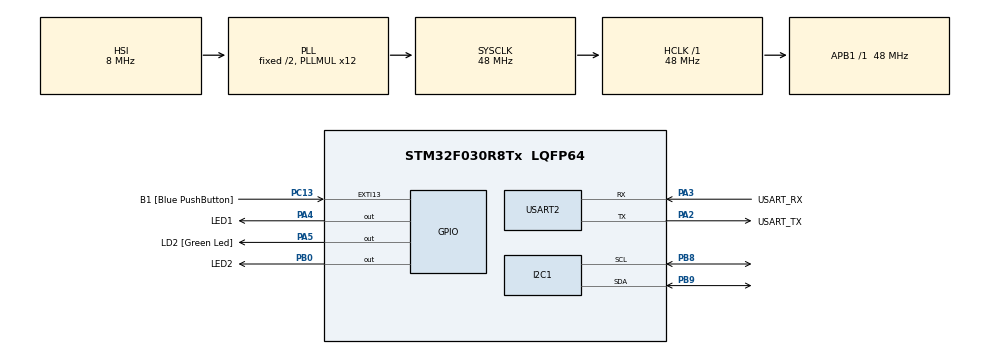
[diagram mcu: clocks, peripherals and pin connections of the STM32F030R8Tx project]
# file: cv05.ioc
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Dma.Request0=USART2_RX
Dma.USART2_RX.0.Direction=DMA_PERIPH_TO_MEMORY
Dma.USART2_RX.0.Instance=DMA1_Channel5
Dma.USART2_RX.0.MemDataAlignment=DMA_MDATAALIGN_BYTE
Dma.USART2_RX.0.MemInc=DMA_MINC_ENABLE
Dma.USART2_RX.0.Mode=DMA_CIRCULAR
Dma.USART2_RX.0.PeriphDataAlignment=DMA_PDATAALIGN_BYTE
Dma.USART2_RX.0.PeriphInc=DMA_PINC_DISABLE
Dma.USART2_RX.0.Priority=DMA_PRIORITY_LOW
Mcu.Family=STM32F0
Mcu.Name=STM32F030R8Tx
Mcu.Package=LQFP64
NVIC.DMA1_Channel4_5_IRQn=true\:0\:0\:false\:false\:true\:false\:true
PA13.GPIO_Label=TMS
PA13.Mode=Serial_Wire
PA13.Signal=SYS_SWDIO
PA14.GPIO_Label=TCK
PA14.Mode=Serial_Wire
PA14.Signal=SYS_SWCLK
PA2.GPIO_Label=USART_TX
PA2.GPIO_Mode=GPIO_MODE_AF_PP
PA2.GPIO_PuPd=GPIO_NOPULL
PA2.GPIO_Speed=GPIO_SPEED_FREQ_LOW
PA2.Mode=Asynchronous
PA2.Signal=USART2_TX
PA3.GPIO_Label=USART_RX
PA3.GPIO_Mode=GPIO_MODE_AF_PP
PA3.GPIO_PuPd=GPIO_NOPULL
PA3.GPIO_Speed=GPIO_SPEED_FREQ_LOW
PA3.Mode=Asynchronous
PA3.Signal=USART2_RX
PA4.GPIO_Label=LED1
PA4.Signal=GPIO_Output
PA5.GPIO_Label=LD2 [Green Led]
PA5.GPIO_Mode=GPIO_MODE_OUTPUT_PP
PA5.GPIO_PuPd=GPIO_NOPULL
PA5.GPIO_Speed=GPIO_SPEED_FREQ_LOW
PA5.Signal=GPIO_Output
PB0.GPIO_Label=LED2
PB0.Signal=GPIO_Output
PB8.Mode=I2C
PB8.Signal=I2C1_SCL
PB9.Mode=I2C
PB9.Signal=I2C1_SDA
PC13.GPIO_Label=B1 [Blue PushButton]
PC13.GPIO_ModeDefaultEXTI=GPIO_MODE_IT_FALLING
PC13.Signal=GPXTI13
PC14-OSC32_IN.Mode=LSE-External-Oscillator
PC14-OSC32_IN.Signal=RCC_OSC32_IN
PC15-OSC32_OUT.Mode=LSE-External-Oscillator
PC15-OSC32_OUT.Signal=RCC_OSC32_OUT
PF0-OSC_IN.Mode=HSE-External-Clock-Source
PF0-OSC_IN.Signal=RCC_OSC_IN
PF1-OSC_OUT.Signal=RCC_OSC_OUT
ProjectManager.HeapSize=0x200
ProjectManager.StackSize=0x400
ProjectManager.TargetToolchain=STM32CubeIDE
RCC.AHBFreq_Value=48000000
RCC.APB1Freq_Value=48000000
RCC.APB1TimFreq_Value=48000000
RCC.HCLKFreq_Value=48000000
RCC.PLLMUL=RCC_PLL_MUL12
RCC.SYSCLKFreq_VALUE=48000000
RCC.SYSCLKSource=RCC_SYSCLKSOURCE_PLLCLK
USART2.VirtualMode-Asynchronous=VM_ASYNC
board=NUCLEO-F030R8

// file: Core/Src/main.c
/* USER CODE BEGIN Header */
/**
  ******************************************************************************
  * @file           : main.c
  * @brief          : Main program body
  ******************************************************************************
  * @attention
  *
  * <h2><center>&copy; Copyright (c) 2020 STMicroelectronics.
  * All rights reserved.</center></h2>
  *
  * This software component is licensed by ST under BSD 3-Clause license,
  * the "License"; You may not use this file except in compliance with the
  * License. You may obtain a copy of the License at:
  *                        opensource.org/licenses/BSD-3-Clause
  *
  ******************************************************************************
  */
/* USER CODE END Header */
#include "main.h"

I2C_HandleTypeDef hi2c1;

UART_HandleTypeDef huart2;
DMA_HandleTypeDef hdma_usart2_rx;

/* USER CODE BEGIN PV */
#define EEPROM_ADDR 0xA0

#define CMD_BUFFER_LEN 256
#define RX_BUFFER_LEN 64
static uint8_t uart_rx_buf[RX_BUFFER_LEN];
static volatile uint16_t uart_rx_read_ptr = 0;
#define uart_rx_write_ptr (RX_BUFFER_LEN - hdma_usart2_rx.Instance->CNDTR)

/* USER CODE END PV */

void SystemClock_Config(void);
static void MX_GPIO_Init(void);
static void MX_DMA_Init(void);
static void MX_USART2_UART_Init(void);
static void MX_I2C1_Init(void);
/* USER CODE BEGIN PFP */

int _write(int file, char const *buf, int n)
{
	/* stdout redirection to UART2 */
	HAL_UART_Transmit(&huart2, (uint8_t*)(buf), n, HAL_MAX_DELAY);
	return n;
}

static void uart_process_command(char *cmd){
//	printf("prijato: '%s'\n", cmd);

	char *token;
	char str1;
	char str2;
	token = strtok(cmd, " ");
	if (strcasecmp(token, "HELLO") == 0) {
		printf("Komunikace OK\n");
	}
	else if (strcasecmp(token, "LED1") == 0) {
		token = strtok(NULL, " ");
		if (strcasecmp(token, "ON") == 0) HAL_GPIO_WritePin(LED1_GPIO_Port, LED1_Pin, GPIO_PIN_SET);
		else if (strcasecmp(token, "OFF") == 0) HAL_GPIO_WritePin(LED1_GPIO_Port, LED1_Pin, GPIO_PIN_RESET);
		else printf("Neznamy prikaz\n");
		printf("OK\n");
		}
	else if (strcasecmp(token, "LED2") == 0) {
		token = strtok(NULL, " ");
		if (strcasecmp(token, "ON") == 0) HAL_GPIO_WritePin(LED2_GPIO_Port, LED2_Pin, GPIO_PIN_SET);
		else if (strcasecmp(token, "OFF") == 0) HAL_GPIO_WritePin(LED2_GPIO_Port, LED2_Pin, GPIO_PIN_RESET);
		else printf("Neznamy prikaz\n");
		printf("OK\n");
		}
	else if (strcasecmp(token, "STATUS") == 0) {
		if (HAL_GPIO_ReadPin(LED1_GPIO_Port, LED1_Pin) == 1) str1 = "on";
		else if (HAL_GPIO_ReadPin(LED1_GPIO_Port, LED1_Pin) == 0) str1 = "off";
		if (HAL_GPIO_ReadPin(LED2_GPIO_Port, LED2_Pin) == 1) str2 = "on";
		else if (HAL_GPIO_ReadPin(LED2_GPIO_Port, LED2_Pin) == 0) str2 = "off";
		printf("Stav LED1=%s, LED2=%s\n",str1, str2);
		}
	else if (strcasecmp(token, "READ") == 0) {
		token = strtok(NULL, " ");
		uint16_t addr = atoi(token);
		uint8_t value;

		HAL_I2C_Mem_Read(&hi2c1, EEPROM_ADDR, addr, I2C_MEMADD_SIZE_16BIT, &value, 1, 1000);

		printf("Adresa 0x%04X = 0x%02X\n", addr, value);
	}
	else if (strcasecmp(token, "WRITE") == 0) {
		token = strtok(NULL, " ");
		uint16_t addr = atoi(token);
		token = strtok(NULL, " ");
		uint8_t value = atoi(token);

		HAL_I2C_Mem_Write(&hi2c1, EEPROM_ADDR, addr, I2C_MEMADD_SIZE_16BIT, &value, 1, 1000);
		/* Check if the EEPROM is ready for a new operation */
		while (HAL_I2C_IsDeviceReady(&hi2c1, EEPROM_ADDR, 300, 1000) == HAL_TIMEOUT) {}

		printf("OK\n");
	}
	else if (strcasecmp(token, "DUMP") == 0) {
		uint8_t value;

		for(volatile uint16_t j = 0; j < 16; j++){
			HAL_I2C_Mem_Read(&hi2c1, EEPROM_ADDR, j, I2C_MEMADD_SIZE_16BIT, &value, 1, 1000);
			printf("%02X  ", value);

			if(j == 7 || j == 15){
				printf("\n");
			}
		}
	}
	else {
		printf("Neznamy prikaz\n");
	}
}
static void uart_byte_available(uint8_t c)
{
	static uint16_t cnt;
	static char data[CMD_BUFFER_LEN];

	if (cnt < CMD_BUFFER_LEN && c >= 32 && c <= 126)
		data[cnt++] = c;
	if ((c == '\n' || c == '\r') && cnt > 0) {
		data[cnt] = '\0';
		uart_process_command(data);
		cnt = 0;
	}
}

/* USER CODE END PFP */

int main(void)
{

  /* MCU Configuration--------------------------------------------------------*/

  /* Reset of all peripherals, Initializes the Flash interface and the Systick. */
  HAL_Init();

  /* Configure the system clock */
  SystemClock_Config();

  /* Initialize all configured peripherals */
  MX_GPIO_Init();
  MX_DMA_Init();
  MX_USART2_UART_Init();
  MX_I2C1_Init();
  /* USER CODE BEGIN 2 */

  HAL_UART_Receive_DMA(&huart2, uart_rx_buf, RX_BUFFER_LEN);

  /* USER CODE END 2 */

  /* Infinite loop */
  while (1)
  {

    /* USER CODE BEGIN 3 */
//	  uint8_t c;
//	  HAL_UART_Receive(&huart2, &c, 1, HAL_MAX_DELAY);
//	  HAL_UART_Transmit(&huart2, &c, 1, HAL_MAX_DELAY);

	  while (uart_rx_read_ptr != uart_rx_write_ptr) {
		  uint8_t b = uart_rx_buf[uart_rx_read_ptr];
		  if (++uart_rx_read_ptr >= RX_BUFFER_LEN)
			  uart_rx_read_ptr = 0; // increase read pointer
		  uart_byte_available(b); // process every received byte with the RX state machine
	  }

  }
  /* USER CODE END 3 */
}

void SystemClock_Config(void)
{
  RCC_OscInitTypeDef RCC_OscInitStruct = {0};
  RCC_ClkInitTypeDef RCC_ClkInitStruct = {0};
  RCC_PeriphCLKInitTypeDef PeriphClkInit = {0};

  /** Initializes the RCC Oscillators according to the specified parameters
  * in the RCC_OscInitTypeDef structure.
  */
  RCC_OscInitStruct.OscillatorType = RCC_OSCILLATORTYPE_HSI;
  RCC_OscInitStruct.HSIState = RCC_HSI_ON;
  RCC_OscInitStruct.HSICalibrationValue = RCC_HSICALIBRATION_DEFAULT;
  RCC_OscInitStruct.PLL.PLLState = RCC_PLL_ON;
  RCC_OscInitStruct.PLL.PLLSource = RCC_PLLSOURCE_HSI;
  RCC_OscInitStruct.PLL.PLLMUL = RCC_PLL_MUL12;
  RCC_OscInitStruct.PLL.PREDIV = RCC_PREDIV_DIV1;
  if (HAL_RCC_OscConfig(&RCC_OscInitStruct) != HAL_OK)
  {
    Error_Handler();
  }
  /** Initializes the CPU, AHB and APB buses clocks
  */
  RCC_ClkInitStruct.ClockType = RCC_CLOCKTYPE_HCLK|RCC_CLOCKTYPE_SYSCLK
                              |RCC_CLOCKTYPE_PCLK1;
  RCC_ClkInitStruct.SYSCLKSource = RCC_SYSCLKSOURCE_PLLCLK;
  RCC_ClkInitStruct.AHBCLKDivider = RCC_SYSCLK_DIV1;
  RCC_ClkInitStruct.APB1CLKDivider = RCC_HCLK_DIV1;

  if (HAL_RCC_ClockConfig(&RCC_ClkInitStruct, FLASH_LATENCY_1) != HAL_OK)
  {
    Error_Handler();
  }
  PeriphClkInit.PeriphClockSelection = RCC_PERIPHCLK_I2C1;
  PeriphClkInit.I2c1ClockSelection = RCC_I2C1CLKSOURCE_HSI;
  if (HAL_RCCEx_PeriphCLKConfig(&PeriphClkInit) != HAL_OK)
  {
    Error_Handler();
  }
}

static void MX_I2C1_Init(void)
{

  hi2c1.Instance = I2C1;
  hi2c1.Init.Timing = 0x2000090E;
  hi2c1.Init.OwnAddress1 = 0;
  hi2c1.Init.AddressingMode = I2C_ADDRESSINGMODE_7BIT;
  hi2c1.Init.DualAddressMode = I2C_DUALADDRESS_DISABLE;
  hi2c1.Init.OwnAddress2 = 0;
  hi2c1.Init.OwnAddress2Masks = I2C_OA2_NOMASK;
  hi2c1.Init.GeneralCallMode = I2C_GENERALCALL_DISABLE;
  hi2c1.Init.NoStretchMode = I2C_NOSTRETCH_DISABLE;
  if (HAL_I2C_Init(&hi2c1) != HAL_OK)
  {
    Error_Handler();
  }
  /** Configure Analogue filter
  */
  if (HAL_I2CEx_ConfigAnalogFilter(&hi2c1, I2C_ANALOGFILTER_ENABLE) != HAL_OK)
  {
    Error_Handler();
  }
  /** Configure Digital filter
  */
  if (HAL_I2CEx_ConfigDigitalFilter(&hi2c1, 0) != HAL_OK)
  {
    Error_Handler();
  }

}

static void MX_USART2_UART_Init(void)
{

  huart2.Instance = USART2;
  huart2.Init.BaudRate = 38400;
  huart2.Init.WordLength = UART_WORDLENGTH_8B;
  huart2.Init.StopBits = UART_STOPBITS_1;
  huart2.Init.Parity = UART_PARITY_NONE;
  huart2.Init.Mode = UART_MODE_TX_RX;
  huart2.Init.HwFlowCtl = UART_HWCONTROL_NONE;
  huart2.Init.OverSampling = UART_OVERSAMPLING_16;
  huart2.Init.OneBitSampling = UART_ONE_BIT_SAMPLE_DISABLE;
  huart2.AdvancedInit.AdvFeatureInit = UART_ADVFEATURE_NO_INIT;
  if (HAL_UART_Init(&huart2) != HAL_OK)
  {
    Error_Handler();
  }

}

static void MX_DMA_Init(void)
{

  /* DMA controller clock enable */
  __HAL_RCC_DMA1_CLK_ENABLE();

  /* DMA interrupt init */
  /* DMA1_Channel4_5_IRQn interrupt configuration */
  HAL_NVIC_SetPriority(DMA1_Channel4_5_IRQn, 0, 0);
  HAL_NVIC_EnableIRQ(DMA1_Channel4_5_IRQn);

}

static void MX_GPIO_Init(void)
{
  GPIO_InitTypeDef GPIO_InitStruct = {0};

  /* GPIO Ports Clock Enable */
  __HAL_RCC_GPIOC_CLK_ENABLE();
  __HAL_RCC_GPIOF_CLK_ENABLE();
  __HAL_RCC_GPIOA_CLK_ENABLE();
  __HAL_RCC_GPIOB_CLK_ENABLE();

  /*Configure GPIO pin Output Level */
  HAL_GPIO_WritePin(GPIOA, LED1_Pin|LD2_Pin, GPIO_PIN_RESET);

  /*Configure GPIO pin Output Level */
  HAL_GPIO_WritePin(LED2_GPIO_Port, LED2_Pin, GPIO_PIN_RESET);

  /*Configure GPIO pin : B1_Pin */
  GPIO_InitStruct.Pin = B1_Pin;
  GPIO_InitStruct.Mode = GPIO_MODE_IT_FALLING;
  GPIO_InitStruct.Pull = GPIO_NOPULL;
  HAL_GPIO_Init(B1_GPIO_Port, &GPIO_InitStruct);

  /*Configure GPIO pins : LED1_Pin LD2_Pin */
  GPIO_InitStruct.Pin = LED1_Pin|LD2_Pin;
  GPIO_InitStruct.Mode = GPIO_MODE_OUTPUT_PP;
  GPIO_InitStruct.Pull = GPIO_NOPULL;
  GPIO_InitStruct.Speed = GPIO_SPEED_FREQ_LOW;
  HAL_GPIO_Init(GPIOA, &GPIO_InitStruct);

  /*Configure GPIO pin : LED2_Pin */
  GPIO_InitStruct.Pin = LED2_Pin;
  GPIO_InitStruct.Mode = GPIO_MODE_OUTPUT_PP;
  GPIO_InitStruct.Pull = GPIO_NOPULL;
  GPIO_InitStruct.Speed = GPIO_SPEED_FREQ_LOW;
  HAL_GPIO_Init(LED2_GPIO_Port, &GPIO_InitStruct);

}

void Error_Handler(void)
{
}

/************************ (C) COPYRIGHT STMicroelectronics *****END OF FILE****/
